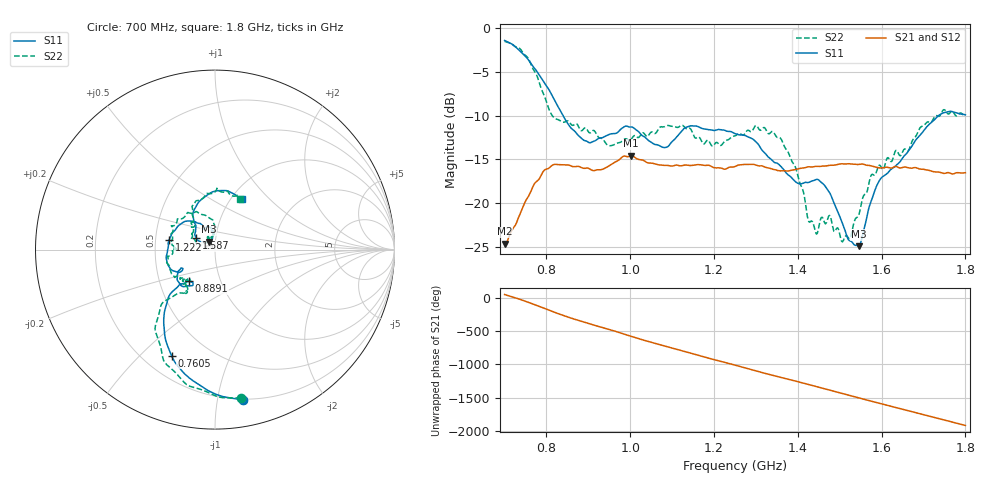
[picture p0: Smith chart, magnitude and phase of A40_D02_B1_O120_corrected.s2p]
! Created with skrf 1.9.0 (http://scikit-rf.org).
# Hz S RI R 50.0
!freq ReS11 ImS11 ReS21 ImS21 ReS12 ImS12 ReS22 ImS22
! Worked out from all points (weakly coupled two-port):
!   1601 points, 700 MHz to 1.8 GHz, reference 50 ohm
!   highest |S21| = -14.60 dB at 1.002 GHz (marker M1); lowest = -24.6 dB at 700.7 MHz (marker M2)
!   lowest |S11| = -24.9 dB at 1.545 GHz (marker M3), VSWR 1.12, Z = 46.4 + j4.11 ohm
!   |S11| at or under -10 dB: 839.3 MHz to 1.736 GHz (896.5 MHz wide, 69.6 % of centre)
!   |S22| runs from -24.4 to -1.5 dB; largest |S21 - S12| = 0.0034
!   S11 on the Smith chart (normalised r, x): 700 MHz: 0.20, -1.19; 760.5 MHz: 0.31, -0.62; 889.1 MHz: 0.71, -0.26; 1.222 GHz: 0.59, +0.07; 1.587 GHz: 0.80, +0.11; 1.8 GHz: 1.12, +0.70
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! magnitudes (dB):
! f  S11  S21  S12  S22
! 700 MHz  -1.4  -24.6  -24.4  -1.5
! 700.7 MHz  -1.4  -24.6  -24.3  -1.5
! 760.5 MHz  -3.9  -18.9  -18.8  -3.8
! 814.8 MHz  -7.8  -15.6  -15.7  -10.1
! 883.6 MHz  -12.6  -16.0  -15.8  -11.7
! 889.1 MHz  -12.8  -16.0  -16.0  -11.5
! 949.6 MHz  -12.2  -15.7  -15.8  -13.4
! 1.002 GHz  -11.3  -14.6  -14.7  -12.7
! 1.067 GHz  -13.4  -15.6  -15.6  -11.5
! 1.141 GHz  -11.2  -15.7  -15.7  -11.4
! 1.222 GHz  -11.7  -16.1  -16.1  -13.1
! 1.25 GHz  -12.1  -15.8  -15.7  -12.3
! 1.359 GHz  -15.8  -16.3  -16.3  -12.6
! 1.394 GHz  -17.6  -16.2  -16.2  -15.9
! 1.434 GHz  -17.5  -15.9  -15.8  -22.1
! 1.476 GHz  -18.8  -15.7  -15.7  -21.4
! 1.508 GHz  -22.5  -15.5  -15.5  -24.3
! 1.545 GHz  -24.9  -15.6  -15.6  -21.4
! 1.587 GHz  -18.2  -15.9  -15.9  -16.5
! 1.617 GHz  -16.4  -15.9  -15.9  -14.9
! 1.737 GHz  -9.9  -16.5  -16.5  -10.1
! 1.8 GHz  -9.9  -16.5  -16.5  -10.0
